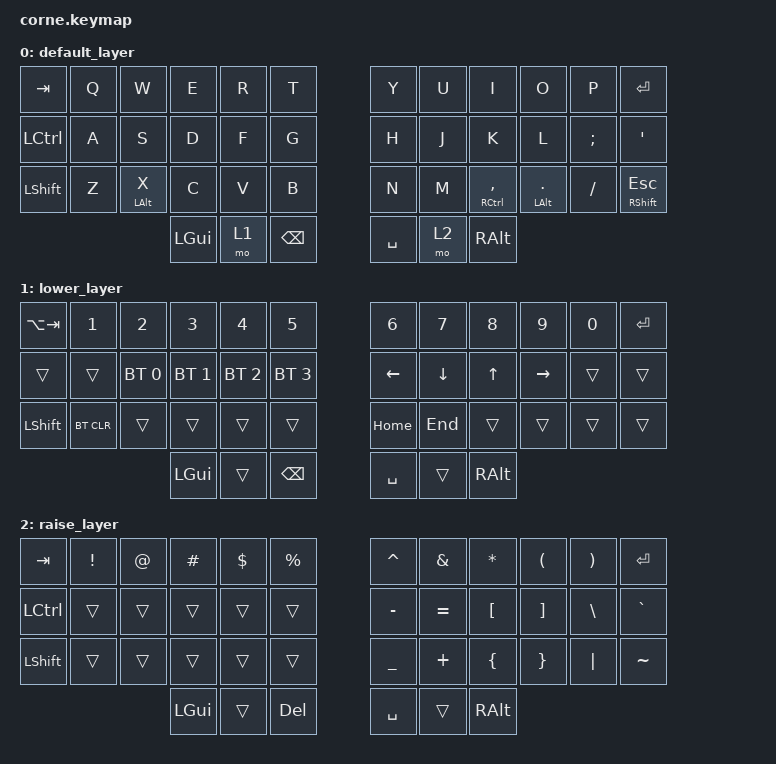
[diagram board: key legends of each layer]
/*
 * Copyright (c) 2020 The ZMK Contributors
 *
 * SPDX-License-Identifier: MIT
 */

#include <behaviors.dtsi>
#include <dt-bindings/zmk/bt.h>
#include <dt-bindings/zmk/keys.h>

&mt {
  tapping-term-ms = <280>;
  quick-tap-ms = <175>; 
};

/ {
    keymap {
        compatible = "zmk,keymap";

        default_layer {
            // -----------------------------------------------------------------------------------------
            // |  TAB |  Q  |  W  |  E  |  R  |  T  |   |  Y  |  U   |  I  |  O  |  P  | RET  |
            // | CTRL |  A  |  S  |  D  |  F  |  G  |   |  H  |  J   |  K  |  L  |  ;  |  '   |
            // | SHFT |  Z  | X/LA|  C  |  V  |  B  |   |  N  |  M   | ,/LA|  ./LA  |  /  | ESC / SHIFT  |
            //                    | GUI | LWR | BSP |   | SPC | RSE  | ALT |

            bindings = <
&kp TAB    &kp Q  &kp W           &kp E     &kp R  &kp T       &kp Y      &kp U  &kp I            &kp O             &kp P     &kp RET
&kp LCTRL  &kp A  &kp S           &kp D     &kp F  &kp G       &kp H      &kp J  &kp K            &kp L             &kp SEMI  &kp SQT
&kp LSHFT  &kp Z  &mt LEFT_ALT X  &kp C     &kp V  &kp B       &kp N      &kp M  &mt RCTRL COMMA  &mt LEFT_ALT DOT  &kp FSLH  &mt RIGHT_SHIFT ESC
                                  &kp LGUI  &mo 1  &kp BSPC    &kp SPACE  &mo 2  &kp RALT
            >;
        };

        lower_layer {
            // -----------------------------------------------------------------------------------------
            // | LATAB|  1  |  2  |  3  |  4  |  5  |   |  6  |  7  |  8  |  9  |  0  | BKSP |
            // |      |     | BT0 | BT1 | BT2 | BT3 |   | LFT | DWN |  UP | RGT |     |      |
            // | SHFT |BTCLR|     |     |     |     |   |     |     |     |     |     |      |
            //                    | GUI |     | SPC |   | ENT |     | ALT |

            bindings = <
&kp LA(TAB)  &kp N1      &kp N2        &kp N3        &kp N4        &kp N5           &kp N6     &kp N7    &kp N8    &kp N9     &kp N0  &kp RET
&trans       &trans      &bt BT_SEL 0  &bt BT_SEL 1  &bt BT_SEL 2  &bt BT_SEL 3     &kp LEFT   &kp DOWN  &kp UP    &kp RIGHT  &trans  &trans
&kp LSHFT    &bt BT_CLR  &trans        &trans        &trans        &trans           &kp HOME   &kp END   &trans    &trans     &trans  &trans
                                       &kp LGUI      &trans        &kp BACKSPACE    &kp SPACE  &trans    &kp RALT
            >;
        };

        raise_layer {
            // -----------------------------------------------------------------------------------------
            // |  TAB |  !  |  @  |  #  |  $  |  %  |   |  ^  |  &  |  *  |  (  |  )  | BKSP |
            // | CTRL |     |     |     |     |     |   |  -  |  =  |  [  |  ]  |  \  |  `   |
            // | SHFT |     |     |     |     |     |   |  _  |  +  |  {  |  }  | "|" |  ~   |
            //                    | GUI |     | SPC |   | ENT |     | ALT |

            bindings = <
&kp TAB    &kp EXCL  &kp AT  &kp HASH  &kp DLLR  &kp PRCNT    &kp CARET  &kp AMPS   &kp ASTRK  &kp LPAR  &kp RPAR  &kp ENTER
&kp LCTRL  &trans    &trans  &trans    &trans    &trans       &kp MINUS  &kp EQUAL  &kp LBKT   &kp RBKT  &kp BSLH  &kp GRAVE
&kp LSHFT  &trans    &trans  &trans    &trans    &trans       &kp UNDER  &kp PLUS   &kp LBRC   &kp RBRC  &kp PIPE  &kp TILDE
                             &kp LGUI  &trans    &kp DEL      &kp SPACE  &trans     &kp RALT
            >;
        };
    };
};
